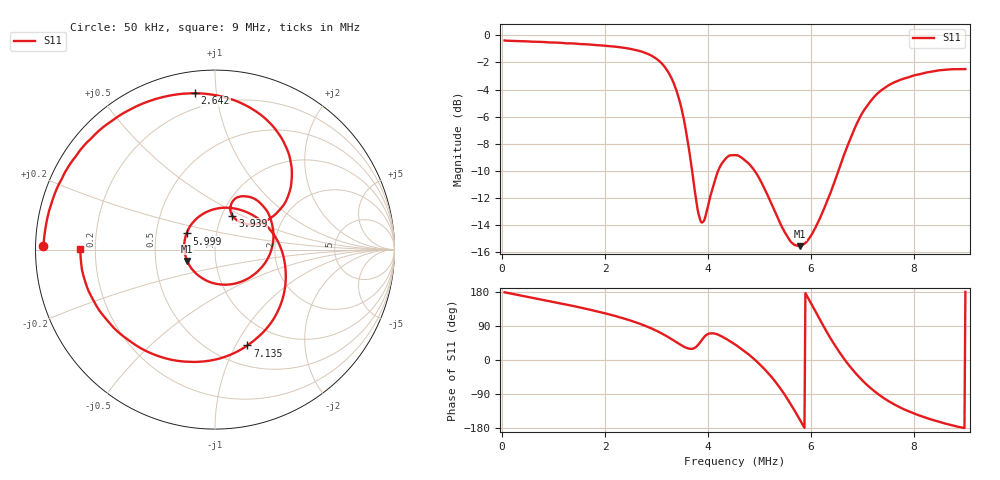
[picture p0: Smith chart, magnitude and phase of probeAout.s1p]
# Hz S RI R 50
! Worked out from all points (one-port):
!   505 points, 50 kHz to 9 MHz, reference 50 ohm
!   lowest |S11| = -15.5 dB at 5.785 MHz (marker M1), VSWR 1.40, Z = 36.3 - j4.7 ohm
!   |S11| at or under -10 dB: 3.692 MHz to 4.196 MHz (503.7 kHz wide, 12.8 % of centre); 4.907 MHz to 6.533 MHz (1.626 MHz wide, 28.4 % of centre)
!   S11 on the Smith chart (normalised r, x): 50 kHz: 0.02, +0.01; 2.642 MHz: 0.12, +0.87; 3.939 MHz: 1.12, +0.44; 5.999 MHz: 0.72, +0.13; 7.135 MHz: 0.71, -1.12; 9 MHz: 0.14, +0.00
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50000  -0.9566 0.0214
1186400  -0.7947 0.4955
1736900  -0.6156 0.6878
2305057  -0.3385 0.8366
2642457  -0.1113 0.8708
3068657  0.2407 0.7615
3423757  0.4283 0.4121
3690114  0.2772 0.1565
3832214  0.1543 0.1483
3938714  0.097 0.1871
4240614  0.1444 0.2966
4542514  0.2787 0.23
4897614  0.3179 0.0125
5235014  0.1692 -0.1689
5448071  0.0231 -0.1931
5661171  -0.1062 -0.1326
5785471  -0.1547 -0.0629
5998571  -0.1587 0.0897
6211671  -0.0276 0.2177
6389171  0.1516 0.2181
6602271  0.339 0.0656
6779871  0.3944 -0.1502
6939671  0.3455 -0.3524
7134971  0.18 -0.5343
7454628  -0.1566 -0.6249
7898528  -0.4986 -0.4921
8431228  -0.6987 -0.2419
8999528  -0.7504 0.00251
